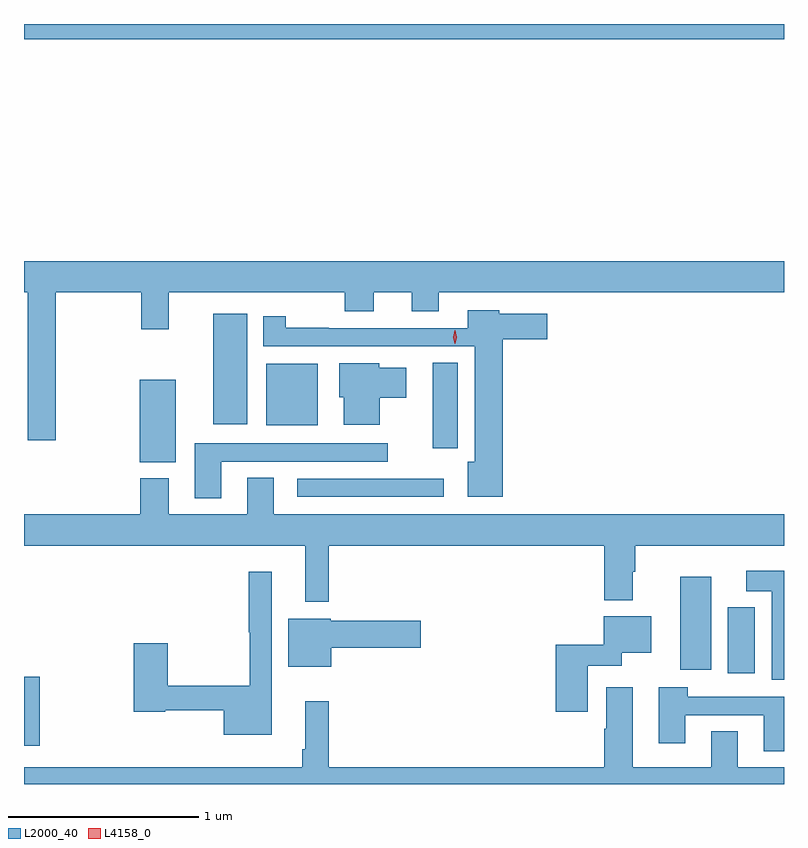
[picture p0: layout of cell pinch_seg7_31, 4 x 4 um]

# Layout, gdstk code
import gdstk
lib = gdstk.Library(unit=1e-6, precision=1e-09)
def R(c, l, rs):  # rectangles x0, y0, x1, y1
    for r in rs: c.add(gdstk.rectangle(r[:2], r[2:], *l))
def P(c, l, *ps):  # polygons
    for p in ps: c.add(gdstk.Polygon(p, *l))
L2000_40 = (2000, 40)
L4158_0 = (4158, 0)

pinch_seg7_31 = lib.new_cell('pinch_seg7_31')
R(pinch_seg7_31, L2000_40, [(1058.304,1052.843,1058.386,1053.205), (1062.008,1053.225,1062.151,1053.571), (1061.759,1053.243,1061.92,1053.733), (1059.741,1054.152,1060.513,1054.248), (1058.912,1054.334,1059.103,1054.768), (1060.454,1054.407,1060.588,1054.859), (1059.578,1054.529,1059.85,1054.852), (1059.299,1054.535,1059.478,1055.116), (1058.304,1056.56,1062.304,1056.641)])
P(pinch_seg7_31, L2000_40, [(1058.472,1055.228),(1058.92,1055.228),(1058.92,1055.034),(1059.067,1055.034),(1059.067,1055.228),(1059.992,1055.228),(1059.992,1055.129),(1060.144,1055.129),(1060.144,1055.228),(1060.346,1055.228),(1060.346,1055.129),(1060.486,1055.129),(1060.486,1055.228),(1062.304,1055.228),(1062.304,1055.392),(1058.304,1055.392),(1058.304,1055.228),(1058.324,1055.228),(1058.324,1054.449),(1058.472,1054.449)],
  [(1060.823,1054.982),(1061.059,1054.982),(1061.059,1055.116),(1060.806,1055.116),(1060.806,1055.134),(1060.64,1055.134),(1060.64,1055.04),(1059.908,1055.04),(1059.908,1055.042),(1059.681,1055.042),(1059.681,1055.104),(1059.563,1055.104),(1059.563,1054.944),(1060.676,1054.944),(1060.676,1054.336),(1060.64,1054.336),(1060.64,1054.154),(1060.823,1054.154)],
  [(1060.177,1054.673),(1060.315,1054.673),(1060.315,1054.831),(1060.173,1054.831),(1060.173,1054.855),(1059.962,1054.855),(1059.962,1054.677),(1059.986,1054.677),(1059.986,1054.532),(1060.177,1054.532)],
  [(1059.343,1054.338),(1060.219,1054.338),(1060.219,1054.434),(1059.203,1054.434),(1059.203,1054.146),(1059.343,1054.146)],
  [(1059.907,1053.896),(1061.357,1053.896),(1061.357,1053.608),(1061.509,1053.608),(1061.509,1053.758),(1061.522,1053.758),(1061.522,1053.896),(1062.304,1053.896),(1062.304,1054.06),(1059.619,1054.06),(1059.619,1054.253),(1059.479,1054.253),(1059.479,1054.06),(1059.067,1054.06),(1059.067,1054.249),(1058.915,1054.249),(1058.915,1054.06),(1058.304,1054.06),(1058.304,1053.896),(1059.785,1053.896),(1059.785,1053.6),(1059.907,1053.6)],
  [(1062.304,1053.763),(1062.105,1053.763),(1062.105,1053.656),(1062.24,1053.656),(1062.24,1053.189),(1062.304,1053.189)],
  [(1059.607,1053.757),(1059.486,1053.757),(1059.486,1053.44),(1059.493,1053.44),(1059.493,1053.158),(1059.06,1053.158),(1059.06,1053.382),(1058.882,1053.382),(1058.882,1053.022),(1059.048,1053.022),(1059.048,1053.03),(1059.356,1053.03),(1059.356,1052.9),(1059.607,1052.9)],
  [(1061.272,1053.263),(1061.451,1053.263),(1061.451,1053.332),(1061.605,1053.332),(1061.605,1053.523),(1061.355,1053.523),(1061.355,1053.373),(1061.102,1053.373),(1061.102,1053.021),(1061.272,1053.021)],
  [(1059.922,1053.359),(1060.393,1053.359),(1060.393,1053.501),(1059.918,1053.501),(1059.918,1053.511),(1059.695,1053.511),(1059.695,1053.257),(1059.922,1053.257)],
  [(1058.304,1052.641),(1062.304,1052.641),(1062.304,1052.728),(1062.061,1052.728),(1062.061,1052.918),(1061.921,1052.918),(1061.921,1052.728),(1061.509,1052.728),(1061.509,1053.151),(1061.369,1053.151),(1061.369,1052.933),(1061.357,1052.933),(1061.357,1052.728),(1059.907,1052.728),(1059.907,1053.076),(1059.785,1053.076),(1059.785,1052.824),(1059.768,1052.824),(1059.768,1052.728),(1058.304,1052.728)],
  [(1062.304,1053.099),(1061.798,1053.099),(1061.798,1053.151),(1061.645,1053.151),(1061.645,1052.856),(1061.785,1052.856),(1061.785,1053.003),(1062.197,1053.003),(1062.197,1052.814),(1062.304,1052.814)])
P(pinch_seg7_31, L4158_0, [(1060.572,1054.957),(1060.572,1054.957),(1060.562,1054.993),(1060.572,1055.028),(1060.572,1055.029),(1060.573,1055.028),(1060.582,1054.993),(1060.573,1054.957)])

lib.write_gds('pinch_seg7_31.gds')
